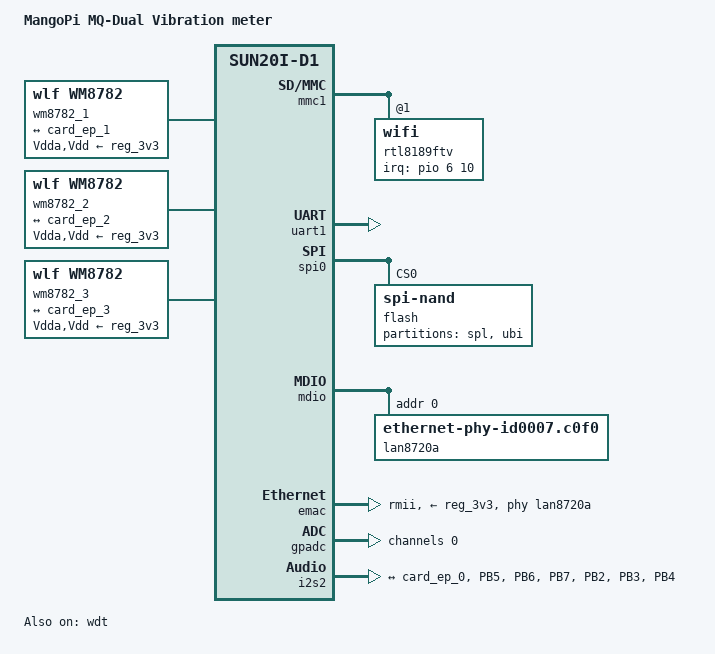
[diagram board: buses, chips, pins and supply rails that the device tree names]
// SPDX-License-Identifier: (GPL-2.0+ or MIT)
// Copyright (C) 2022 Samuel Holland <samuel@sholland.org>

/dts-v1/;

#include <dt-bindings/gpio/gpio.h>
#include "allwinner/sun8i-t113s.dtsi"
#include "allwinner/sunxi-d1s-t113-mangopi-mq-r.dtsi"

/ {
	model = "MangoPi MQ-Dual Vibration meter";
	compatible = "allwinner,sun20i-d1", "allwinner,sun8i";

	aliases {
		ethernet0 = &rtl8189ftv;
	};

	/delete-node/ leds;

	wm8782_1: stereo-adc-1 {
		compatible = "wlf,wm8782";
		Vdda-supply = <&reg_3v3>;
		Vdd-supply = <&reg_3v3>;
		#sound-dai-cells = <0>;
		wlf,fsampen = <2>; /* 192KHz */
		port {
			wm8782_1_ep: endpoint {
				remote-endpoint = <&card_ep_1>;
			};
		};
	};

	wm8782_2: stereo-adc-2 {
		compatible = "wlf,wm8782";
		Vdda-supply = <&reg_3v3>;
		Vdd-supply = <&reg_3v3>;
		#sound-dai-cells = <0>;
		wlf,fsampen = <2>; /* 192KHz */
		port {
			wm8782_2_ep: endpoint {
				remote-endpoint = <&card_ep_2>;
			};
		};
	};

	wm8782_3: stereo-adc-3 {
		compatible = "wlf,wm8782";
		Vdda-supply = <&reg_3v3>;
		Vdd-supply = <&reg_3v3>;
		#sound-dai-cells = <0>;
		wlf,fsampen = <2>; /* 192KHz */
		port {
			wm8782_3_ep: endpoint {
				remote-endpoint = <&card_ep_3>;
			};
		};
	};

	sound {
		compatible = "audio-graph-card2";
		links = <&i2s2_port>;
		multi {
			ports {
				#address-cells = <1>;
				#size-cells = <0>;
				port@0 {
					card_ep_0: endpoint {
						remote-endpoint = <&i2s2_ep>;
					};
				};
				port@1 {
					card_ep_1: endpoint {
						remote-endpoint = <&wm8782_1_ep>;
					};
				};
				port@2 {
					card_ep_2: endpoint {
						remote-endpoint = <&wm8782_2_ep>;
					};
				};
				port@3 {
					card_ep_3: endpoint {
						remote-endpoint = <&wm8782_3_ep>;
					};
				};
			};
		};

	};
};

&cpu0 {
        cpu-supply = <&reg_vcc_core>;
};

&cpu1 {
        cpu-supply = <&reg_vcc_core>;
};

&mmc1 {
        rtl8189ftv: wifi@1 {
                reg = <1>;
                interrupt-parent = <&pio>;
                interrupts = <6 10 IRQ_TYPE_LEVEL_LOW>; /* PG10 = WL_WAKE_AP */
                interrupt-names = "host-wake";
        };
};

&pio {
	i2s2_pins: i2s-pins {
		pins = "PB5", "PB6", "PB7";
		function = "i2s2";
	};

	i2s2_din_pins: i2s-din-pins {
		pins = "PB2", "PB3", "PB4";
		function = "i2s2_din";
	};
};

&uart1 {
	pinctrl-0 = <&uart1_pg6_pins>;
	pinctrl-names = "default";
	status = "okay";
};

&spi0 {
	pinctrl-0 = <&spi0_pins>;
	pinctrl-names = "default";
	status = "okay";

	flash@0 {
		compatible = "spi-nand";
		reg = <0>;

		partitions {
			compatible = "fixed-partitions";
			#address-cells = <1>;
			#size-cells = <1>;

			partition@0 {
				label = "spl";
				reg = <0x00000000 0x00080000>;
			};

			partition@100000 {
				label = "ubi";
				reg = <0x00080000 0x0fb00000>;
			};
		};

	};
};

&mdio {
	status = "okay";
	lan8720a: ethernet-phy@0 {
		compatible = "ethernet-phy-id0007.c0f0", "ethernet-phy-ieee802.3-c22";
		reg = <0>;
	};
};

&emac {
	pinctrl-0 = <&rmii_pe_pins>;
	pinctrl-names = "default";
	phy-handle = <&lan8720a>;
	phy-mode = "rmii";
	phy-supply = <&reg_3v3>;
	status = "okay";
};

&gpadc {
	status = "okay";
	channel@0 {
		reg = <0>;
	};
};

&i2s2 {
	pinctrl-0 = <&i2s2_pins>, <&i2s2_din_pins>;
	pinctrl-names = "default";
	status = "okay";
	channel-dins = /bits/ 8 <0 0 1 1 2 2>;
	channel-slots = /bits/ 8 <0 1 0 1 0 1>;
	i2s2_port: port {
		format = "i2s";
		mclk-fs = <128>;
		bitclock-master;
		frame-master;
		i2s2_ep: endpoint {
			remote-endpoint = <&card_ep_0>;
		};
	};
};

&uart3 {
	status = "disabled";
	/delete-node/ pinctrl-0;
	/delete-node/ pinctrl-names;
};

&wdt {
	status = "okay";
};
